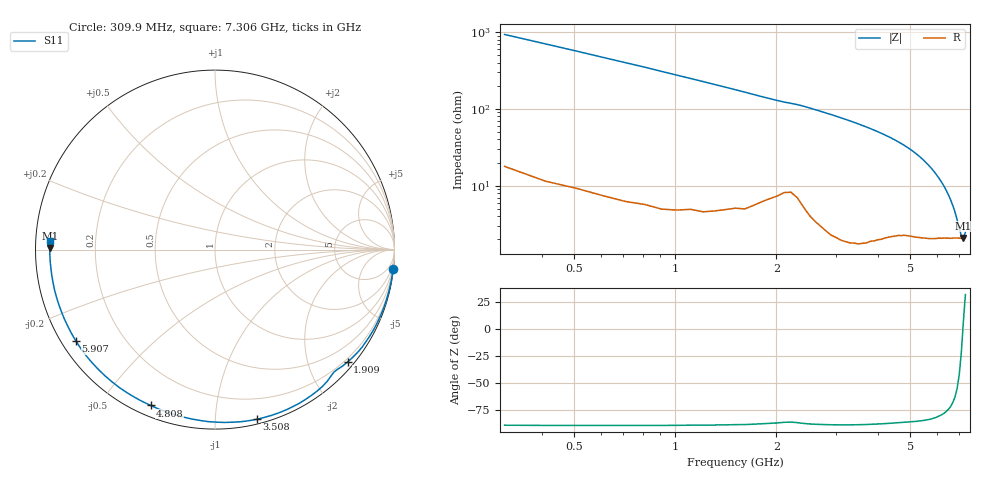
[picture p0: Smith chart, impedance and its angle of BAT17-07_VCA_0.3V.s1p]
! Infineon Technologies  Discrete & RF Semiconductors
! BAT17-07
! VCA = 0.3 V
! One-Port S-Parameters
# Hz  S  MA  R  50
!f  S11
!Hz  Mag  Ang
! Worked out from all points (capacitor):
!   71 points, 309.9 MHz to 7.306 GHz, reference 50 ohm
!   read as one part to ground: C = 551 fF near 309.9 MHz
!   lowest |Z| = 2.09 ohm at 7.206 GHz (marker M1)
!   series resonance near 7.183 GHz, so ESL is about 890 pH
!   S11 on the Smith chart (normalised r, x): 309.9 MHz: 0, -19; 1.909 GHz: 0.14, -2.72; 3.508 GHz: 0.03, -1.27; 4.808 GHz: 0.05, -0.67; 5.907 GHz: 0.04, -0.30; 7.306 GHz: 0.04, +0.03
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3.0985e8  0.998 -6.1
8.096e8  0.9954 -16.3
1.2094e9  0.9916 -24.9
1.6092e9  0.9834 -33.7
1.90905e9  0.9683 -40.3
2.10895e9  0.9547 -44.3
2.30885e9  0.9559 -47.5
2.50875e9  0.9692 -51.8
2.8086e9  0.9753 -59.0
3.0085e9  0.9767 -63.7
3.30835e9  0.9759 -71.2
3.50825e9  0.9737 -76.3
3.8081e9  0.9666 -84.1
4.008e9  0.9615 -89.5
4.2079e9  0.9556 -95.0
4.50775e9  0.9471 -103.6
4.70765e9  0.9419 -109.5
4.8076e9  0.9394 -112.5
5.0075e9  0.9369 -118.6
5.2074e9  0.9351 -124.9
5.4073e9  0.9328 -131.2
5.6072e9  0.9307 -137.5
5.90705e9  0.9276 -146.6
6.2069e9  0.9241 -155.4
6.50675e9  0.922 -163.4
6.8066e9  0.9206 -170.9
7.2064e9  0.9204 179.4
7.30635e9  0.9195 177.0
